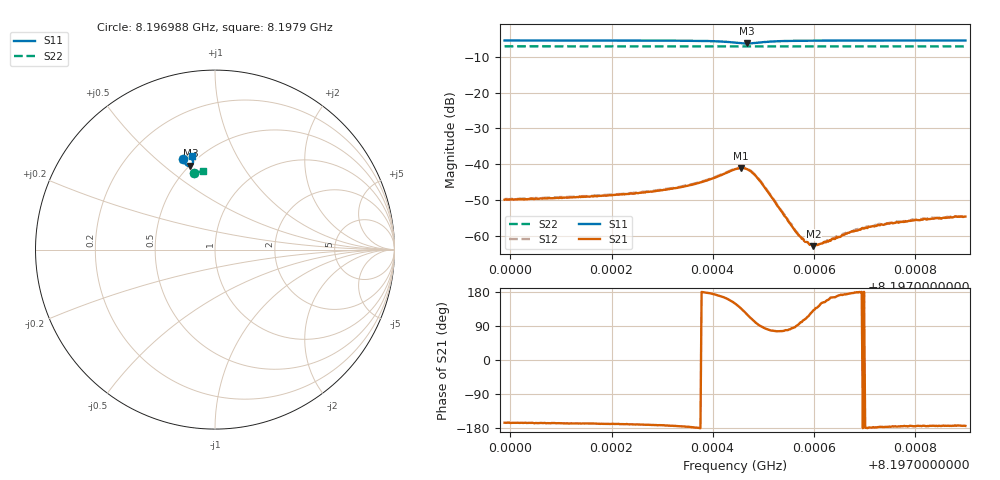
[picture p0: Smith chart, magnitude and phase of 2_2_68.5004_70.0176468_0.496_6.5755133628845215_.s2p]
#  HZ  S  RI  R  50.00
! Rohde & Schwarz Vector Network Analyzer
! Rohde-Schwarz,ZNB20-2Port,1311601062101988,3.16
! Created: UTC 3/20/2024, 4:48:39 PM
! freq[Hz]  re:S11  im:S11  re:S21  im:S21  re:S12  im:S12  re:S22  im:S22
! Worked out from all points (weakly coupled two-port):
!   401 points, 8.196988 GHz to 8.1979 GHz, reference 50 ohm
!   highest |S21| = -41.06 dB at 8.197456 GHz (marker M1); lowest = -62.9 dB at 8.197599 GHz (marker M2)
!   lowest |S11| = -6.3 dB at 8.197467 GHz (marker M3), VSWR 2.90, Z = 25.2 + j30.9 ohm
!   |S11| at or under -10 dB: nowhere
!   |S22| runs from -7.1 to -7.1 dB; largest |S21 - S12| = 0.00042
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8.1969884e9  -0.18 0.5049  -0.0031 -0.000804  -0.00319 -0.000706  -0.1152 0.4288
8.1971411e9  -0.1677 0.5085  -0.00345 -0.000749  -0.00352 -0.000648  -0.1067 0.4308
8.19723e9  -0.1596 0.5105  -0.00377 -0.000741  -0.00391 -0.000553  -0.1018 0.4317
8.1972938e9  -0.1527 0.5113  -0.00423 -0.000605  -0.00436 -0.000441  -0.0982 0.4323
8.1973691e9  -0.1406 0.5103  -0.0054 -0.000132  -0.00549 0.000116  -0.0939 0.4331
8.197401e9  -0.1325 0.5067  -0.00634 0.000663  -0.00645 0.00093  -0.092 0.4333
8.1974443e9  -0.1227 0.4851  -0.00732 0.0044  -0.00726 0.00472  -0.0896 0.4331
8.1974557e9  -0.127 0.4747  -0.00644 0.00608  -0.0063 0.00644  -0.0891 0.433
8.1974671e9  -0.1373 0.4669  -0.00453 0.00734  -0.00428 0.00765  -0.0887 0.4329
8.1974785e9  -0.1508 0.4666  -0.00219 0.00735  -0.00193 0.00755  -0.0885 0.4331
8.1974922e9  -0.1624 0.4745  -0.000155 0.00602  3.23e-05 0.00615  -0.0881 0.4334
8.1975674e9  -0.1594 0.5059  -2.36e-05 0.00109  1.33e-05 0.00112  -0.0838 0.4349
8.1975811e9  -0.1574 0.5078  -0.000235 0.000824  -0.000182 0.000837  -0.0831 0.435
8.197597e9  -0.155 0.5096  -0.000457 0.000607  -0.000429 0.000616  -0.0821 0.4352
8.1975993e9  -0.1547 0.5098  -0.000473 0.000542  -0.000459 0.000586  -0.082 0.4352
8.1976038e9  -0.1541 0.5103  -0.000549 0.000512  -0.000505 0.000552  -0.0816 0.4353
8.1976198e9  -0.152 0.5114  -0.000726 0.000379  -0.000707 0.000396  -0.0808 0.4355
8.1976722e9  -0.1459 0.5144  -0.00113 7.99e-05  -0.00117 0.000123  -0.0779 0.4358
8.1976859e9  -0.1446 0.5149  -0.00119 1.87e-05  -0.00122 8.84e-05  -0.0769 0.4361
8.1977497e9  -0.1384 0.5171  -0.00148 -0.00011  -0.00153 -2.66e-05  -0.0734 0.4366
8.1978341e9  -0.1314 0.5191  -0.00173 -0.00019  -0.0018 -0.000143  -0.0686 0.4373
8.1979002e9  -0.1262 0.5204  -0.00185 -0.000198  -0.00192 -0.000109  -0.065 0.4377
